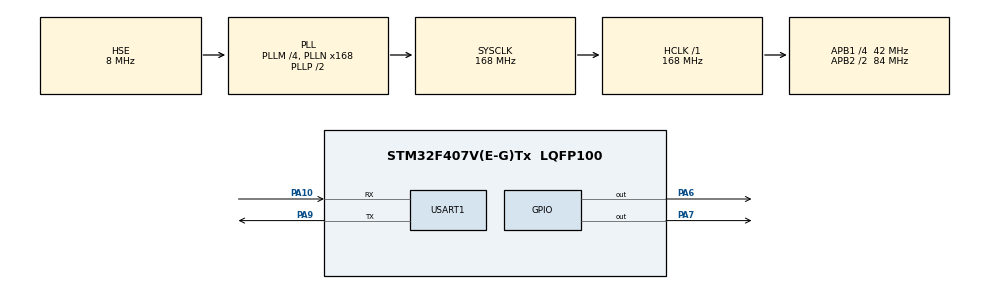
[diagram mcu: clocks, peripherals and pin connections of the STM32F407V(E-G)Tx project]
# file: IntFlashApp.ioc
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Mcu.Family=STM32F4
Mcu.Name=STM32F407V(E-G)Tx
Mcu.Package=LQFP100
NVIC.PriorityGroup=NVIC_PRIORITYGROUP_4
NVIC.TIM4_IRQn=true\:0\:0\:false\:false\:true\:true\:true\:true
NVIC.TIM8_TRG_COM_TIM14_IRQn=true\:15\:0\:false\:false\:true\:false\:true\:true
NVIC.TimeBase=TIM8_TRG_COM_TIM14_IRQn
NVIC.TimeBaseIP=TIM14
NVIC.USART1_IRQn=true\:0\:0\:false\:false\:true\:true\:true\:true
PA10.Mode=Asynchronous
PA10.Signal=USART1_RX
PA13.Mode=Serial_Wire
PA13.Signal=SYS_JTMS-SWDIO
PA14.Mode=Serial_Wire
PA14.Signal=SYS_JTCK-SWCLK
PA6.Signal=GPIO_Output
PA7.PinState=GPIO_PIN_SET
PA7.Signal=GPIO_Output
PA9.Mode=Asynchronous
PA9.Signal=USART1_TX
PH0-OSC_IN.Mode=HSE-External-Oscillator
PH0-OSC_IN.Signal=RCC_OSC_IN
PH1-OSC_OUT.Mode=HSE-External-Oscillator
PH1-OSC_OUT.Signal=RCC_OSC_OUT
ProjectManager.HeapSize=0x400
ProjectManager.StackSize=0x800
ProjectManager.TargetToolchain=STM32CubeIDE
RCC.48MHZClocksFreq_Value=84000000
RCC.AHBFreq_Value=168000000
RCC.APB1CLKDivider=RCC_HCLK_DIV4
RCC.APB1Freq_Value=42000000
RCC.APB1TimFreq_Value=84000000
RCC.APB2CLKDivider=RCC_HCLK_DIV2
RCC.APB2Freq_Value=84000000
RCC.APB2TimFreq_Value=168000000
RCC.CortexFreq_Value=168000000
RCC.HCLKFreq_Value=168000000
RCC.HSE_VALUE=8000000
RCC.HSI_VALUE=16000000
RCC.LSE_VALUE=32768
RCC.PLLM=4
RCC.PLLN=168
RCC.PLLSourceVirtual=RCC_PLLSOURCE_HSE
RCC.SYSCLKFreq_VALUE=168000000
RCC.SYSCLKSource=RCC_SYSCLKSOURCE_PLLCLK
RCC.VCOOutputFreq_Value=336000000
TIM4.Period=500
TIM4.Prescaler=28000-1
USART1.VirtualMode=VM_ASYNC
VP_SYS_VS_tim14.Mode=TIM14
VP_TIM4_VS_ClockSourceINT.Mode=Internal
board=custom

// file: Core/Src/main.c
/* USER CODE BEGIN Header */
/**
  ******************************************************************************
  * @file           : main.c
  * @brief          : Main program body
  ******************************************************************************
  * @attention
  *
  * Copyright (c) 2025 STMicroelectronics.
  * All rights reserved.
  *
  * This software is licensed under terms that can be found in the LICENSE file
  * in the root directory of this software component.
  * If no LICENSE file comes with this software, it is provided AS-IS.
  *
  ******************************************************************************
  */
/* USER CODE END Header */
#include "main.h"

/* USER CODE BEGIN Includes */
#include <stdlib.h>
#include <stdbool.h>

#include "sys_command_line.h"
#include "flash_memory.h"

/* USER CODE END Includes */

TIM_HandleTypeDef htim4;

UART_HandleTypeDef huart1;

void SystemClock_Config(void);
static void MX_GPIO_Init(void);
static void MX_TIM4_Init(void);
static void MX_USART1_UART_Init(void);
/* USER CODE BEGIN PFP */
void init(void);
void loop(void);
void banner(void);
uint8_t internal_flash_read(int argc, char *argv[]);
uint8_t internal_flash_write(int argc, char *argv[]);
uint8_t internal_flash_erase(int argc, char *argv[]);
/* USER CODE END PFP */

/* USER CODE BEGIN 0 */
const char cli_flash_read[] = "Flash read."
		                      "\n\t\"fr [ID]\" to show memory value by ID";
const char cli_flash_write[] = "Flash write."
		                       "\n\t\"fw [ID] [VALUE]\" write to memory value VALUE by ID";
const char cli_flash_erase[] = "Flash erase."
		                       "\n\t\"fe [ID]\" to erase memory value by ID";

// banner
void banner()
{
    NL1();
    TERMINAL_BACK_DEFAULT(); /* set terminal background color: black */
    TERMINAL_DISPLAY_CLEAR();
    TERMINAL_RESET_CURSOR();
    TERMINAL_FONT_BLUE();
    printf("+---------------------------------+");NL1();
    printf("|    Flash test                   |");NL1();
    printf("+---------------------------------+");NL1();
    printf("| Testing internal flash memory   |");NL1();
    printf("+---------------------------------+");NL1();
    printf("µShell v0.1 - by Morgan Diepart (mdiepart@uliege.be)");NL1();
    printf("Original work from https://github.com/ShareCat/STM32CommandLine");NL1();
    printf("-------------------------------");
    NL2();
    TERMINAL_FONT_DEFAULT();
    PRINT_CLI_NAME();
    TERMINAL_SHOW_CURSOR();
}

//
void init()
{
	HAL_TIM_Base_Start_IT(&htim4);

	greet_function = banner;
	CLI_INIT(&huart1);
	CLI_ADD_CMD("fr", cli_flash_read,  internal_flash_read);
	CLI_ADD_CMD("fw", cli_flash_write, internal_flash_write);
	CLI_ADD_CMD("fe", cli_flash_erase, internal_flash_erase);
	cli_log_stat = 0xFFFFFFFF; // Switch on all logs

	return;
}

//
void loop()
{
	CLI_RUN();

	return;
}

//
uint8_t internal_flash_read(int argc, char *argv[])
{
	LOG(CLI_LOG_SHELL, "Flash read.");NL1();
	flash_s flash_handle = flash_read(.count = 8);
	LOG(CLI_LOG_SHELL, "Memory dump: 0x%02X 0x%02X 0x%02X 0x%02X 0x%02X 0x%02X 0x%02X 0x%02X",
			flash_handle.data[0],
			flash_handle.data[1],
			flash_handle.data[2],
			flash_handle.data[3],
			flash_handle.data[4],
			flash_handle.data[5],
			flash_handle.data[6],
			flash_handle.data[7]);NL1();
	uint8_t result = flash_handle.status == HAL_OK ? EXIT_SUCCESS : EXIT_FAILURE;

	return result;
}

//
uint8_t internal_flash_write(int argc, char *argv[])
{
	LOG(CLI_LOG_SHELL, "Flash write.");NL1();
	flash_s flash_handle;

	flash_handle = flash_write(.data = {0x00,0x01,0x02,0x03,0x04,0x05,0x06,0x07}, .count = 8);
	uint8_t result = flash_handle.status == HAL_OK ? EXIT_SUCCESS : EXIT_FAILURE;

	return result;
}

//
uint8_t internal_flash_erase(int argc, char *argv[])
{
	LOG(CLI_LOG_SHELL, "Flash erase.");NL1();
	flash_s flash_handle = flash_erase();
	uint8_t result = flash_handle.status == HAL_OK ? EXIT_SUCCESS : EXIT_FAILURE;

	return result;
}

/* USER CODE END 0 */

int main(void)
{

  /* MCU Configuration--------------------------------------------------------*/

  /* Reset of all peripherals, Initializes the Flash interface and the Systick. */
  HAL_Init();

  /* Configure the system clock */
  SystemClock_Config();

  /* Initialize all configured peripherals */
  MX_GPIO_Init();
  MX_TIM4_Init();
  MX_USART1_UART_Init();
  /* USER CODE BEGIN 2 */
  init();
//  NL1();DBG("Hello from internal flash testing.");NL1();
  /* USER CODE END 2 */

  /* Infinite loop */
  /* USER CODE BEGIN WHILE */
  while (1)
  {
	loop();
    /* USER CODE END WHILE */

  }
}

void SystemClock_Config(void)
{
  RCC_OscInitTypeDef RCC_OscInitStruct = {0};
  RCC_ClkInitTypeDef RCC_ClkInitStruct = {0};

  /** Configure the main internal regulator output voltage
  */
  __HAL_RCC_PWR_CLK_ENABLE();
  __HAL_PWR_VOLTAGESCALING_CONFIG(PWR_REGULATOR_VOLTAGE_SCALE1);

  /** Initializes the RCC Oscillators according to the specified parameters
  * in the RCC_OscInitTypeDef structure.
  */
  RCC_OscInitStruct.OscillatorType = RCC_OSCILLATORTYPE_HSE;
  RCC_OscInitStruct.HSEState = RCC_HSE_ON;
  RCC_OscInitStruct.PLL.PLLState = RCC_PLL_ON;
  RCC_OscInitStruct.PLL.PLLSource = RCC_PLLSOURCE_HSE;
  RCC_OscInitStruct.PLL.PLLM = 4;
  RCC_OscInitStruct.PLL.PLLN = 168;
  RCC_OscInitStruct.PLL.PLLP = RCC_PLLP_DIV2;
  RCC_OscInitStruct.PLL.PLLQ = 4;
  if (HAL_RCC_OscConfig(&RCC_OscInitStruct) != HAL_OK)
  {
    Error_Handler();
  }

  /** Initializes the CPU, AHB and APB buses clocks
  */
  RCC_ClkInitStruct.ClockType = RCC_CLOCKTYPE_HCLK|RCC_CLOCKTYPE_SYSCLK
                              |RCC_CLOCKTYPE_PCLK1|RCC_CLOCKTYPE_PCLK2;
  RCC_ClkInitStruct.SYSCLKSource = RCC_SYSCLKSOURCE_PLLCLK;
  RCC_ClkInitStruct.AHBCLKDivider = RCC_SYSCLK_DIV1;
  RCC_ClkInitStruct.APB1CLKDivider = RCC_HCLK_DIV4;
  RCC_ClkInitStruct.APB2CLKDivider = RCC_HCLK_DIV2;

  if (HAL_RCC_ClockConfig(&RCC_ClkInitStruct, FLASH_LATENCY_5) != HAL_OK)
  {
    Error_Handler();
  }
}

static void MX_TIM4_Init(void)
{

  TIM_ClockConfigTypeDef sClockSourceConfig = {0};
  TIM_MasterConfigTypeDef sMasterConfig = {0};

  htim4.Instance = TIM4;
  htim4.Init.Prescaler = 28000-1;
  htim4.Init.CounterMode = TIM_COUNTERMODE_UP;
  htim4.Init.Period = 500;
  htim4.Init.ClockDivision = TIM_CLOCKDIVISION_DIV1;
  htim4.Init.AutoReloadPreload = TIM_AUTORELOAD_PRELOAD_DISABLE;
  if (HAL_TIM_Base_Init(&htim4) != HAL_OK)
  {
    Error_Handler();
  }
  sClockSourceConfig.ClockSource = TIM_CLOCKSOURCE_INTERNAL;
  if (HAL_TIM_ConfigClockSource(&htim4, &sClockSourceConfig) != HAL_OK)
  {
    Error_Handler();
  }
  sMasterConfig.MasterOutputTrigger = TIM_TRGO_RESET;
  sMasterConfig.MasterSlaveMode = TIM_MASTERSLAVEMODE_DISABLE;
  if (HAL_TIMEx_MasterConfigSynchronization(&htim4, &sMasterConfig) != HAL_OK)
  {
    Error_Handler();
  }

}

static void MX_USART1_UART_Init(void)
{

  huart1.Instance = USART1;
  huart1.Init.BaudRate = 115200;
  huart1.Init.WordLength = UART_WORDLENGTH_8B;
  huart1.Init.StopBits = UART_STOPBITS_1;
  huart1.Init.Parity = UART_PARITY_NONE;
  huart1.Init.Mode = UART_MODE_TX_RX;
  huart1.Init.HwFlowCtl = UART_HWCONTROL_NONE;
  huart1.Init.OverSampling = UART_OVERSAMPLING_16;
  if (HAL_UART_Init(&huart1) != HAL_OK)
  {
    Error_Handler();
  }

}

static void MX_GPIO_Init(void)
{
  GPIO_InitTypeDef GPIO_InitStruct = {0};

  /* GPIO Ports Clock Enable */
  __HAL_RCC_GPIOH_CLK_ENABLE();
  __HAL_RCC_GPIOA_CLK_ENABLE();

  /*Configure GPIO pin Output Level */
  HAL_GPIO_WritePin(GPIOA, GPIO_PIN_6, GPIO_PIN_RESET);

  /*Configure GPIO pin Output Level */
  HAL_GPIO_WritePin(GPIOA, GPIO_PIN_7, GPIO_PIN_SET);

  /*Configure GPIO pins : PA6 PA7 */
  GPIO_InitStruct.Pin = GPIO_PIN_6|GPIO_PIN_7;
  GPIO_InitStruct.Mode = GPIO_MODE_OUTPUT_PP;
  GPIO_InitStruct.Pull = GPIO_NOPULL;
  GPIO_InitStruct.Speed = GPIO_SPEED_FREQ_LOW;
  HAL_GPIO_Init(GPIOA, &GPIO_InitStruct);

}

void HAL_TIM_PeriodElapsedCallback(TIM_HandleTypeDef *htim)
{
  if (htim->Instance == TIM14)
  {
    HAL_IncTick();
  }
  /* USER CODE BEGIN Callback 1 */
  if (htim->Instance == TIM4) {
	HAL_GPIO_TogglePin(GPIOA, GPIO_PIN_7);
  }

  /* USER CODE END Callback 1 */
}

void Error_Handler(void)
{
  __disable_irq();
  while (1)
  {
  }
}
